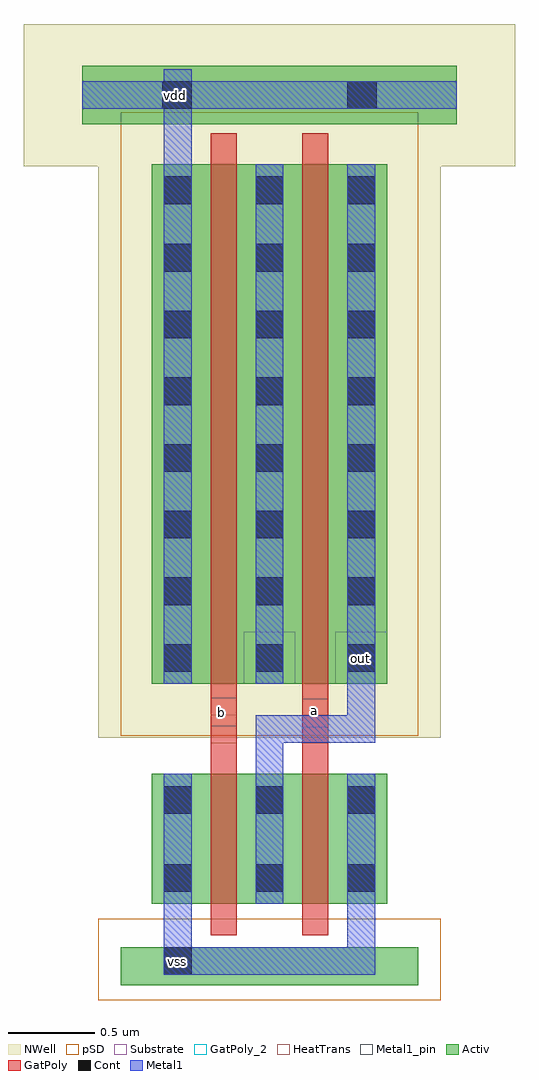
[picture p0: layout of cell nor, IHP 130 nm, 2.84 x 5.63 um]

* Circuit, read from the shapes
.subckt nor a b out vdd vss
XM1 out b vss vss sg13_lv_nmos w=0.75u l=0.15u
XM2 vss a out vss sg13_lv_nmos w=0.75u l=0.15u
XM3 n1 b vdd vdd sg13_lv_pmos w=3u l=0.15u
XM4 out a n1 vdd sg13_lv_pmos w=3u l=0.15u
.ends

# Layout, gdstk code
import gdstk
lib = gdstk.Library(unit=1e-6, precision=5e-09)
def R(c, l, rs):  # rectangles x0, y0, x1, y1
    for r in rs: c.add(gdstk.rectangle(r[:2], r[2:], *l))
def A(c, l, x, y, w, h, nx, ny, dx, dy):  # array of equal rectangles
    R(c, l, [(x+i*dx, y+j*dy, x+i*dx+w, y+j*dy+h) for i in range(nx) for j in range(ny)])
Activ = (1, 0)
GatPoly = (5, 0)
GatPoly_2 = (5, 2)
Cont = (6, 0)
Metal1 = (8, 0)
Metal1_pin = (8, 2)
pSD = (14, 0)
NWell = (31, 0)
Substrate = (40, 0)
HeatTrans = (51, 0)

pmos_1 = lib.new_cell('pmos$1')
R(pmos_1, Activ, [(0,0,0.3,0.3), (0,0,0.83,3), (0.53,0,0.83,0.3)])
R(pmos_1, GatPoly, [(0.34,-0.18,0.49,3.18), (0.34,-0.18,0.49,3.18)])
A(pmos_1, Cont, 0.07, 0.07, 0.16, 0.16, 1, 7, 0, 0.385)
A(pmos_1, Cont, 0.6, 0.07, 0.16, 0.16, 1, 7, 0, 0.385)
R(pmos_1, Cont, [(0.07,2.77,0.23,2.93), (0.6,2.77,0.76,2.93)])
R(pmos_1, Metal1, [(0.07,0,0.23,3), (0.07,0,0.23,3), (0.6,0,0.76,3), (0.6,0,0.76,3)])
R(pmos_1, pSD, [(-0.18,-0.3,1.01,3.3)])
R(pmos_1, NWell, [(-0.31,-0.31,1.14,3.31)])
R(pmos_1, Substrate, [(0.53,0,0.83,0.3)])
R(pmos_1, HeatTrans, [(0.34,-0.18,0.49,3.18)])
pmos_1.add(gdstk.Label('pmos', (0.415,1.5), layer=63, texttype=0))
pmos_1.add(gdstk.Label('pmos', (0.415,1.5), layer=51, texttype=0))

nmos = lib.new_cell('nmos')
R(nmos, Activ, [(0,0,0.3,0.3), (0,0,0.83,0.75), (0.53,0,0.83,0.3)])
R(nmos, GatPoly, [(0.34,-0.18,0.49,0.93)])
R(nmos, GatPoly_2, [(0.34,-0.18,0.49,0.93)])
R(nmos, Cont, [(0.07,0.07,0.23,0.23), (0.6,0.07,0.76,0.23), (0.07,0.52,0.23,0.68), (0.6,0.52,0.76,0.68)])
R(nmos, Metal1, [(0.07,0,0.23,0.75), (0.6,0,0.76,0.75)])
R(nmos, Metal1_pin, [(0.07,0,0.23,0.75), (0.6,0,0.76,0.75)])
R(nmos, HeatTrans, [(0.34,-0.18,0.49,0.93)])
nmos.add(gdstk.Label('nmos', (0.415,0.375), layer=63, texttype=0))
nmos.add(gdstk.Label('nmos', (0.415,0.375), layer=51, texttype=0))

m1_cont1_pmos = lib.new_cell('M1_Cont1_PMOS')
R(m1_cont1_pmos, Activ, [(-0.535,-0.175,0.545,0.165)])
R(m1_cont1_pmos, Cont, [(-0.075,-0.085,0.085,0.075)])
R(m1_cont1_pmos, Metal1, [(-0.535,-0.085,0.545,0.075)])
R(m1_cont1_pmos, Metal1_pin, [(-0.535,-0.085,0.545,0.075)])
R(m1_cont1_pmos, NWell, [(-0.875,-0.415,0.885,0.405)])

m1_bulkcont1_pmos = lib.new_cell('M1_BulkCont1_PMOS')
r = gdstk.Reference(m1_cont1_pmos, (-0.015,-0.015)); r.repetition = gdstk.Repetition(2, 1, v1=(1.08,0), v2=(0,0)); m1_bulkcont1_pmos.add(r)

nor = lib.new_cell('nor')
R(nor, Activ, [(-2.805,-1.295,-1.085,-1.075)])
R(nor, GatPoly, [(-1.755,-0.625,-1.605,0.285), (-2.285,-0.62,-2.135,0.285)])
R(nor, GatPoly_2, [(-1.755,0.195,-1.605,0.36), (-2.285,0.2,-2.135,0.365)])
R(nor, Cont, [(-2.555,-1.235,-2.395,-1.075), (-2.555,3.765,-2.395,3.925), (-1.495,3.765,-1.335,3.925)])
R(nor, Metal1, [(-2.555,3.215,-2.395,3.995), (-2.65,3.765,-1.255,3.925)])
R(nor, Metal1_pin, [(-2.555,-1.235,-2.395,-1.075), (-1.495,0.515,-1.335,0.675), (-2.555,3.765,-2.395,3.925), (-1.495,3.765,-1.335,3.925)])
R(nor, pSD, [(-2.935,-1.38,-0.955,-0.91)])
nor.add(gdstk.FlexPath([(-2.475,-0.585),(-2.475,-1.155),(-1.415,-1.155),(-1.415,-0.59)], 0.16, ends="flush", simple_path=True, layer=8, datatype=0))  # Metal1
nor.add(gdstk.FlexPath([(-1.945,-0.265),(-1.945,0.185),(-1.415,0.185),(-1.415,0.595)], 0.16, ends="flush", simple_path=True, layer=8, datatype=0))  # Metal1
nor.add(gdstk.Reference(pmos_1, (-2.625,0.445)))
nor.add(gdstk.Reference(pmos_1, (-2.095,0.445)))
nor.add(gdstk.Reference(nmos, (-2.625,-0.825)))
nor.add(gdstk.Reference(nmos, (-2.095,-0.825)))
nor.add(gdstk.Reference(m1_bulkcont1_pmos, (-2.475,3.865)))
nor.add(gdstk.Label('vss', (-2.475,-1.155), layer=8, texttype=2))
nor.add(gdstk.Label('vdd', (-2.49,3.84), layer=8, texttype=2))
nor.add(gdstk.Label('out', (-1.42,0.59), layer=8, texttype=2))
nor.add(gdstk.Label('a', (-1.685,0.29), layer=5, texttype=2))
nor.add(gdstk.Label('b', (-2.22,0.28), layer=5, texttype=2))

lib.write_gds('nor.gds')
